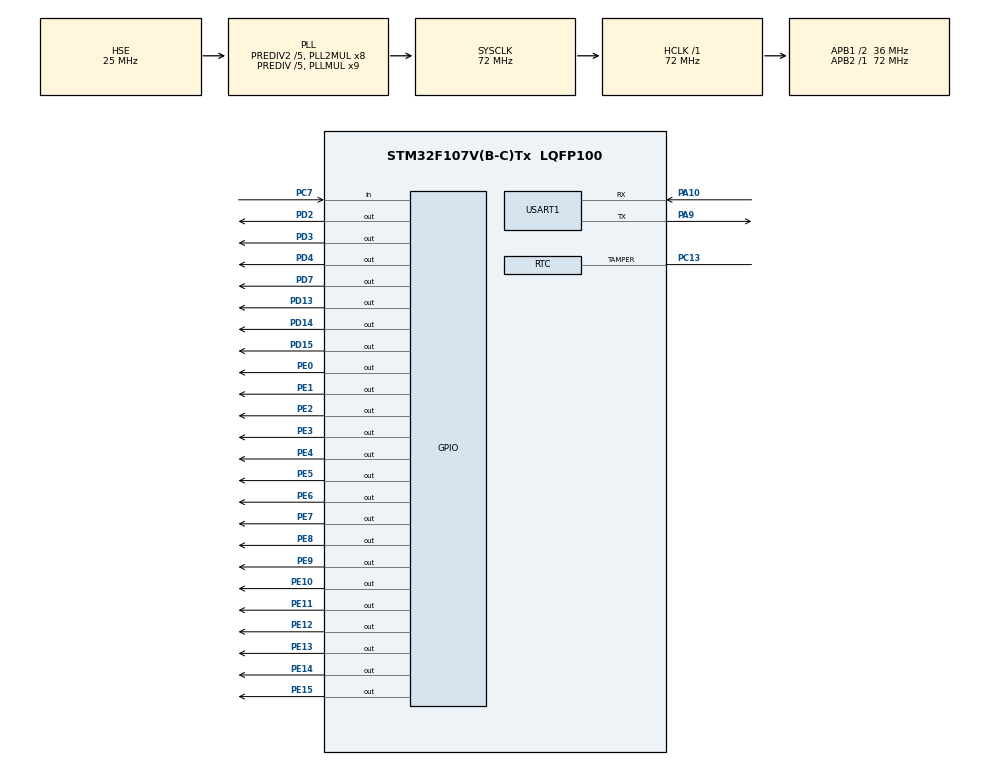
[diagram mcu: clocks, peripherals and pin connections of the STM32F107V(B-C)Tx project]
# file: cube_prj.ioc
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Dma.Request0=USART1_RX
Dma.Request1=USART1_TX
Dma.USART1_RX.0.Direction=DMA_PERIPH_TO_MEMORY
Dma.USART1_RX.0.Instance=DMA1_Channel5
Dma.USART1_RX.0.MemDataAlignment=DMA_MDATAALIGN_BYTE
Dma.USART1_RX.0.MemInc=DMA_MINC_DISABLE
Dma.USART1_RX.0.Mode=DMA_CIRCULAR
Dma.USART1_RX.0.PeriphDataAlignment=DMA_PDATAALIGN_BYTE
Dma.USART1_RX.0.PeriphInc=DMA_PINC_DISABLE
Dma.USART1_RX.0.Priority=DMA_PRIORITY_MEDIUM
Dma.USART1_TX.1.Direction=DMA_MEMORY_TO_PERIPH
Dma.USART1_TX.1.Instance=DMA1_Channel4
Dma.USART1_TX.1.MemDataAlignment=DMA_MDATAALIGN_BYTE
Dma.USART1_TX.1.MemInc=DMA_MINC_ENABLE
Dma.USART1_TX.1.Mode=DMA_NORMAL
Dma.USART1_TX.1.PeriphDataAlignment=DMA_PDATAALIGN_BYTE
Dma.USART1_TX.1.PeriphInc=DMA_PINC_DISABLE
Dma.USART1_TX.1.Priority=DMA_PRIORITY_MEDIUM
Mcu.Family=STM32F1
Mcu.Name=STM32F107V(B-C)Tx
Mcu.Package=LQFP100
NVIC.DMA1_Channel4_IRQn=true\:0\:0\:false\:false\:true
NVIC.DMA1_Channel5_IRQn=true\:0\:0\:false\:false\:true
NVIC.PriorityGroup=NVIC_PRIORITYGROUP_1
NVIC.TAMPER_IRQn=true\:0\:0\:false\:false\:true
NVIC.USART1_IRQn=true\:0\:0\:false\:false\:true
OSC_IN.Mode=HSE-External-Oscillator
OSC_IN.Signal=RCC_OSC_IN
OSC_OUT.Mode=HSE-External-Oscillator
OSC_OUT.Signal=RCC_OSC_OUT
PA10.Mode=Asynchronous
PA10.Signal=USART1_RX
PA13.Mode=Serial_Wire
PA13.Signal=SYS_JTMS-SWDIO
PA14.Mode=Serial_Wire
PA14.Signal=SYS_JTCK-SWCLK
PA9.Mode=Asynchronous
PA9.Signal=USART1_TX
PC13-TAMPER-RTC.Mode=Tamper
PC13-TAMPER-RTC.Signal=RTC_TAMPER
PC14-OSC32_IN.Mode=LSE-External-Oscillator
PC14-OSC32_IN.Signal=RCC_OSC32_IN
PC15-OSC32_OUT.Mode=LSE-External-Oscillator
PC15-OSC32_OUT.Signal=RCC_OSC32_OUT
PC7.Signal=GPIO_Input
PD13.Signal=GPIO_Output
PD14.Signal=GPIO_Output
PD15.Signal=GPIO_Output
PD2.Signal=GPIO_Output
PD3.Signal=GPIO_Output
PD4.Signal=GPIO_Output
PD7.Signal=GPIO_Output
PE0.GPIO_Speed=GPIO_SPEED_HIGH
PE0.Signal=GPIO_Output
PE1.GPIO_Speed=GPIO_SPEED_HIGH
PE1.Signal=GPIO_Output
PE10.GPIO_Speed=GPIO_SPEED_HIGH
PE10.Signal=GPIO_Output
PE11.GPIO_Speed=GPIO_SPEED_HIGH
PE11.Signal=GPIO_Output
PE12.GPIO_Speed=GPIO_SPEED_HIGH
PE12.Signal=GPIO_Output
PE13.GPIO_Speed=GPIO_SPEED_HIGH
PE13.Signal=GPIO_Output
PE14.GPIO_Speed=GPIO_SPEED_HIGH
PE14.Signal=GPIO_Output
PE15.GPIO_Speed=GPIO_SPEED_HIGH
PE15.Signal=GPIO_Output
PE2.GPIO_Speed=GPIO_SPEED_HIGH
PE2.Signal=GPIO_Output
PE3.GPIO_Speed=GPIO_SPEED_HIGH
PE3.Signal=GPIO_Output
PE4.GPIO_Speed=GPIO_SPEED_HIGH
PE4.Signal=GPIO_Output
PE5.GPIO_Speed=GPIO_SPEED_HIGH
PE5.Signal=GPIO_Output
PE6.GPIO_Speed=GPIO_SPEED_HIGH
PE6.Signal=GPIO_Output
PE7.GPIO_Speed=GPIO_SPEED_HIGH
PE7.Signal=GPIO_Output
PE8.GPIO_Speed=GPIO_SPEED_HIGH
PE8.Signal=GPIO_Output
PE9.GPIO_Speed=GPIO_SPEED_HIGH
PE9.Signal=GPIO_Output
ProjectManager.HeapSize=0x400
ProjectManager.StackSize=0x200
ProjectManager.TargetToolchain=MDK-ARM V5
RCC.AHBFreq_Value=72000000
RCC.APB1CLKDivider=RCC_HCLK_DIV2
RCC.APB1Freq_Value=36000000
RCC.APB1TimFreq_Value=72000000
RCC.APB2Freq_Value=72000000
RCC.APB2TimFreq_Value=72000000
RCC.HCLKFreq_Value=72000000
RCC.HSEDivPLL=RCC_HSE_PREDIV_DIV5
RCC.HSE_VALUE=25000000
RCC.HSIState=RCC_HSI_ON
RCC.PLLMUL=RCC_PLL_MUL9
RCC.PLLSourceVirtual=RCC_PLLSOURCE_HSE
RCC.Prediv1Source=RCC_PREDIV1_SOURCE_PLL2
RCC.Prediv2=RCC_HSE_PREDIV2_DIV5
RCC.SYSCLKFreq_VALUE=72000000
RCC.SYSCLKSource=RCC_SYSCLKSOURCE_PLLCLK
RCC.USBFreq_Value=48000000
RTC.Date=15
RTC.Hours=10
RTC.Minutes=6
RTC.Month=RTC_MONTH_AUGUST
RTC.Seconds=24
RTC.Year=16
VP_CRC_VS_CRC.Mode=CRC_Activate
VP_RTC_No_RTC_Output.Mode=RTC_OUT_NO
board=cube_prj

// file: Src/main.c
/**
  ******************************************************************************
  * File Name          : main.c
  * Description        : Main program body
  ******************************************************************************
  *
  * COPYRIGHT(c) 2016 STMicroelectronics
  *
  * Redistribution and use in source and binary forms, with or without modification,
  * are permitted provided that the following conditions are met:
  *   1. Redistributions of source code must retain the above copyright notice,
  *      this list of conditions and the following disclaimer.
  *   2. Redistributions in binary form must reproduce the above copyright notice,
  *      this list of conditions and the following disclaimer in the documentation
  *      and/or other materials provided with the distribution.
  *   3. Neither the name of STMicroelectronics nor the names of its contributors
  *      may be used to endorse or promote products derived from this software
  *      without specific prior written permission.
  *
  * THIS SOFTWARE IS PROVIDED BY THE COPYRIGHT HOLDERS AND CONTRIBUTORS "AS IS"
  * AND ANY EXPRESS OR IMPLIED WARRANTIES, INCLUDING, BUT NOT LIMITED TO, THE
  * IMPLIED WARRANTIES OF MERCHANTABILITY AND FITNESS FOR A PARTICULAR PURPOSE ARE
  * DISCLAIMED. IN NO EVENT SHALL THE COPYRIGHT HOLDER OR CONTRIBUTORS BE LIABLE
  * FOR ANY DIRECT, INDIRECT, INCIDENTAL, SPECIAL, EXEMPLARY, OR CONSEQUENTIAL
  * DAMAGES (INCLUDING, BUT NOT LIMITED TO, PROCUREMENT OF SUBSTITUTE GOODS OR
  * SERVICES; LOSS OF USE, DATA, OR PROFITS; OR BUSINESS INTERRUPTION) HOWEVER
  * CAUSED AND ON ANY THEORY OF LIABILITY, WHETHER IN CONTRACT, STRICT LIABILITY,
  * OR TORT (INCLUDING NEGLIGENCE OR OTHERWISE) ARISING IN ANY WAY OUT OF THE USE
  * OF THIS SOFTWARE, EVEN IF ADVISED OF THE POSSIBILITY OF SUCH DAMAGE.
  *
  ******************************************************************************
  */
#include "stm32f1xx_hal.h"
#include "crc.h"
#include "dma.h"
#include "rtc.h"
#include "usart.h"
#include "gpio.h"

/* USER CODE BEGIN Includes */
#include "gui.h"            /**< STemwin */
#include "rtc_dup.h"
#include "key.h"

/* USER CODE END Includes */

/* USER CODE BEGIN PV */
/* Private variables ---------------------------------------------------------*/

/* USER CODE END PV */

void SystemClock_Config(void);

/* USER CODE BEGIN PFP */
/* Private function prototypes -----------------------------------------------*/

/* USER CODE END PFP */

/* USER CODE BEGIN 0 */
extern GUI_CONST_STORAGE GUI_FONT GUI_FontYaHei28;

/* USER CODE END 0 */

int main(void)
{

  /* MCU Configuration----------------------------------------------------------*/

  /* Reset of all peripherals, Initializes the Flash interface and the Systick. */
  HAL_Init();

  /* Configure the system clock */
  SystemClock_Config();

  /* Initialize all configured peripherals */
  MX_GPIO_Init();
  MX_DMA_Init();
  MX_CRC_Init();
  MX_USART1_UART_Init();
  MX_RTC_Init();

  /* USER CODE BEGIN 2 */

    write_data_to_bkp_reg();
    /** 等待入侵检测引脚被按下 */
    while (get_tamper_flag() != SET);
    deactive_tamper();
    check_bkp_data();

    GUI_Init();
    GUI_UC_SetEncodeUTF8();
    GUI_SetFont(&GUI_Font24B_1);
    GUI_SetBkColor(GUI_BLACK);
    GUI_SetColor(GUI_GREEN);

  /* USER CODE END 2 */

  /* Infinite loop */
  while (1)
  {

  /* USER CODE BEGIN 3 */
    RTC_display_current_time(20, 170);
    RTC_display_current_date(120, 170);
  }
  /* USER CODE END 3 */

}

/** System Clock Configuration
*/
void SystemClock_Config(void)
{

  RCC_OscInitTypeDef RCC_OscInitStruct;
  RCC_ClkInitTypeDef RCC_ClkInitStruct;
  RCC_PeriphCLKInitTypeDef PeriphClkInit;

  RCC_OscInitStruct.OscillatorType = RCC_OSCILLATORTYPE_LSI|RCC_OSCILLATORTYPE_HSE;
  RCC_OscInitStruct.HSEState = RCC_HSE_ON;
  RCC_OscInitStruct.HSEPredivValue = RCC_HSE_PREDIV_DIV5;
  RCC_OscInitStruct.LSIState = RCC_LSI_ON;
  RCC_OscInitStruct.Prediv1Source = RCC_PREDIV1_SOURCE_PLL2;
  RCC_OscInitStruct.PLL.PLLState = RCC_PLL_ON;
  RCC_OscInitStruct.PLL.PLLSource = RCC_PLLSOURCE_HSE;
  RCC_OscInitStruct.PLL.PLLMUL = RCC_PLL_MUL9;
  RCC_OscInitStruct.PLL2.PLL2State = RCC_PLL2_ON;
  RCC_OscInitStruct.PLL2.PLL2MUL = RCC_PLL2_MUL8;
  RCC_OscInitStruct.PLL2.HSEPrediv2Value = RCC_HSE_PREDIV2_DIV5;
  HAL_RCC_OscConfig(&RCC_OscInitStruct);

  RCC_ClkInitStruct.ClockType = RCC_CLOCKTYPE_HCLK|RCC_CLOCKTYPE_SYSCLK
                              |RCC_CLOCKTYPE_PCLK1|RCC_CLOCKTYPE_PCLK2;
  RCC_ClkInitStruct.SYSCLKSource = RCC_SYSCLKSOURCE_PLLCLK;
  RCC_ClkInitStruct.AHBCLKDivider = RCC_SYSCLK_DIV1;
  RCC_ClkInitStruct.APB1CLKDivider = RCC_HCLK_DIV2;
  RCC_ClkInitStruct.APB2CLKDivider = RCC_HCLK_DIV1;
  HAL_RCC_ClockConfig(&RCC_ClkInitStruct, FLASH_LATENCY_2);

  PeriphClkInit.PeriphClockSelection = RCC_PERIPHCLK_RTC;
  PeriphClkInit.RTCClockSelection = RCC_RTCCLKSOURCE_LSI;
  HAL_RCCEx_PeriphCLKConfig(&PeriphClkInit);

  HAL_SYSTICK_Config(HAL_RCC_GetHCLKFreq()/1000);

  HAL_SYSTICK_CLKSourceConfig(SYSTICK_CLKSOURCE_HCLK);

  __HAL_RCC_PLLI2S_ENABLE();

  /* SysTick_IRQn interrupt configuration */
  HAL_NVIC_SetPriority(SysTick_IRQn, 0, 0);
}

/************************ (C) COPYRIGHT STMicroelectronics *****END OF FILE****/
